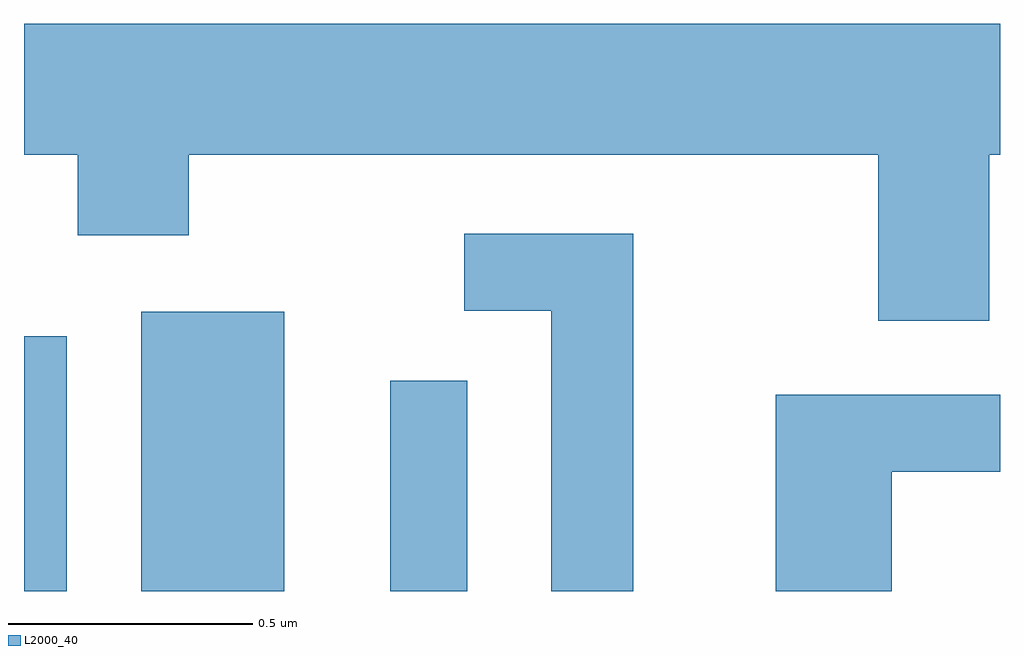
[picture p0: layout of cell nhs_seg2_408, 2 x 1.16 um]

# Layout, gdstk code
import gdstk
lib = gdstk.Library(unit=1e-6, precision=1e-09)
def R(c, l, rs):  # rectangles x0, y0, x1, y1
    for r in rs: c.add(gdstk.rectangle(r[:2], r[2:], *l))
def P(c, l, *ps):  # polygons
    for p in ps: c.add(gdstk.Polygon(p, *l))
L2000_40 = (2000, 40)

nhs_seg2_408 = lib.new_cell('nhs_seg2_408')
R(nhs_seg2_408, L2000_40, [(187.611,1111.802,187.699,1112.324), (187.851,1111.802,188.144,1112.374), (188.361,1111.802,188.519,1112.233)])
P(nhs_seg2_408, L2000_40, [(189.589,1112.696),(189.611,1112.696),(189.611,1112.964),(187.611,1112.964),(187.611,1112.696),(187.721,1112.696),(187.721,1112.531),(187.949,1112.531),(187.949,1112.696),(189.361,1112.696),(189.361,1112.356),(189.589,1112.356)],
  [(188.859,1112.534),(188.513,1112.534),(188.513,1112.376),(188.691,1112.376),(188.691,1111.802),(188.859,1111.802)],
  [(189.389,1112.046),(189.611,1112.046),(189.611,1112.204),(189.151,1112.204),(189.151,1111.802),(189.389,1111.802)])

lib.write_gds('nhs_seg2_408.gds')
